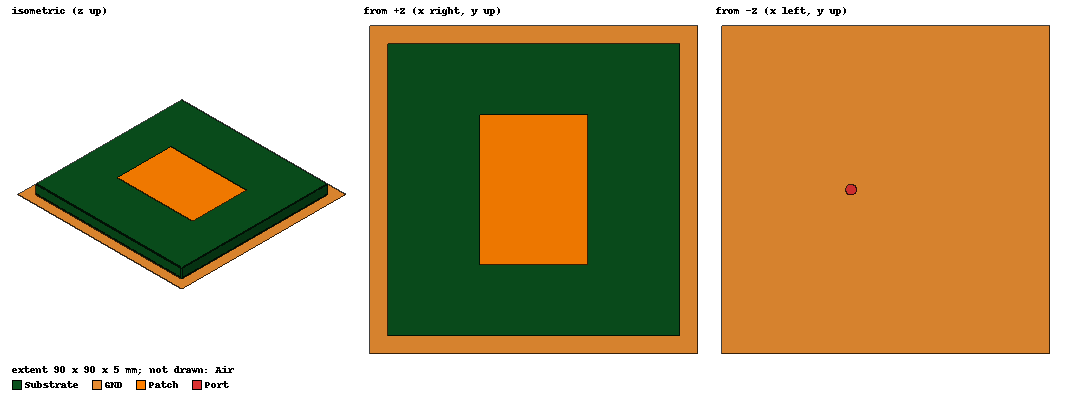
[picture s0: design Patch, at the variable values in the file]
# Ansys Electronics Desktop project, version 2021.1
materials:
  vacuum: permittivity=1
  Rogers RO4003 (tm): permittivity=3.55 dielectric_loss_tangent=0.0027
  pec: conductivity=1e+30

design Patch (HFSS, DrivenModal, model units mm)
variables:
  Length = 29.489291mm  # optimise 29mm..30mm
  Width = 41.4mm
  Xf = 9.5mm
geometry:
  GND = rectangle(corner=(-45mm, -45mm, 0mm), x_size=90mm, y_size=90mm)
  Substrate [Rogers RO4003 (tm)] = box(corner=(-40mm, -40mm, 0mm), size=(80mm, 80mm, 5mm))
  Patch = rectangle(corner=(-Length/2, -Width/2, 5mm), x_size=Length, y_size=Width)
  Feed [pec] = cylinder(axis=Z, base_centre=(Xf, 0mm, 0mm), radius=0.5mm, height=5mm)
  Port = circle(normal=Z, centre=(Xf, 0mm, 0mm), radius=1.5mm)
  Port_1 = Port.copy()
  GND.subtract(Port_1)
  Air [vacuum] = box(corner=(-80mm, -80mm, -35mm), size=(160mm, 160mm, 75mm))
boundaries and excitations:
  PerfE_GND: Perfect E Objects=GND
  PerfE_Patch: Perfect E Objects=Patch
  Rad1: Radiation Objects=Air
  P1: Lumped Port Objects=Port Modes{Mode1{IntLine{Feed.vertex(1 of 2) -> Port.vertex(1 of 1)} CharImp=Zpi RenormImp=50ohm}} Impedance=50ohm
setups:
  Setup1: HfssDriven Frequency=2.45GHz MaxDeltaS=0.02 MaximumPasses=15 MinimumPasses=1 MinimumConvergedPasses=1 PercentRefinement=30 BasisOrder=1 PortAccuracy=2
    sweep Sweep: 2.2GHz to 2.8GHz, 31 points; Type=Fast SaveFields
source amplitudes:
  P1:1: 1W 0deg
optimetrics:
  ParametricSetup1: Parametric Sim._Setups=[Setup1]
    sweep Length: LIN 28mm 31mm 0.5mm
  ParametricSetup2: Parametric Sim._Setups=[Setup1]
    sweep Width: LIN 39mm 42mm 0.5mm
  ParametricSetup3: Parametric Sim._Setups=[Setup1]
    sweep Xf: LIN 9mm 10mm 0.2mm
  OptimizationSetup1: Optimization Optimizer=SNLP AnalysisStopOptions{StopForNumIteration MaxNumIteration=15 MinNumIteration=10} CostFuncNormType=L2 Acceptable_Cost=0 Noise=0.0001 UpdateDesignWhenDone
    vary Length: Min=29mm Max=30mm MinStep=0.31mm MaxStep=3.1mm MinFocus=29mm MaxFocus=30mm start=29.5mm
    goal dB(S(P1,P1)) Minimize 0 weight 1 on Setup1 : LastAdaptive at Freq 2.45GHz
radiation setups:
  3D: Infinite Sphere Theta=0deg..180deg step 5deg Phi=0deg..360deg step 5deg
  XOZ: Infinite Sphere Theta=0deg..360deg step 2deg Phi=0deg..0deg step 2deg
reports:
  S Parameter Plot 1: dB(S(P1,P1)) vs Freq on Setup1 : Sweep [Length=29.4893mm Width=41.4mm Xf=9.5mm]; markers m1 at 2.46GHz, m2 at 2.44GHz
  S Parameter Chart 1: S(P1,P1) on Setup1 : Sweep [Freq=all Length=29.4893mm Width=41.4mm Xf=9.5mm]; markers m1 at 2.46GHz
  VSWR Plot 1: VSWR(P1) vs Freq on Setup1 : Sweep [Length=29.4893mm Width=41.4mm Xf=9.5mm]; markers m1 at 2.4GHz, m2 at 2.44GHz, m3 at 2.5GHz
  Gain Plot 1: GainTotal vs Phi, Theta on Setup1 : LastAdaptive, 3D [Freq=2.45GHz Length=29.4893mm Width=41.4mm Xf=9.5mm]
  Gain Plot 2: dB(GainTotal) vs Theta on Setup1 : LastAdaptive, XOZ [Phi=all Freq=2.45GHz Length=29.4893mm Width=41.4mm Xf=9.5mm]
